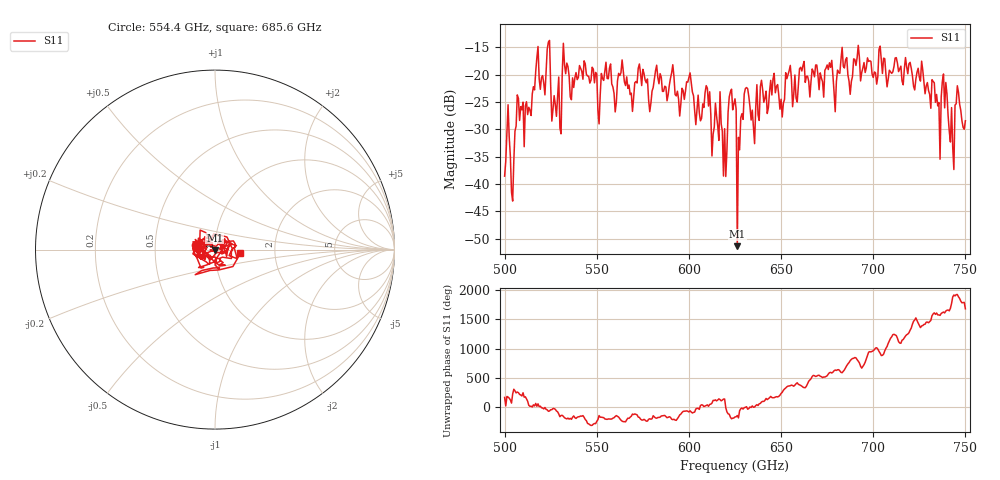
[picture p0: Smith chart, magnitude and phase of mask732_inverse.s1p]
!Created with skrf (http://scikit-rf.org).
# GHz S MA R 50.0
!freq magS11 angS11
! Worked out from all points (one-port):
!   401 points, 500 GHz to 750 GHz, reference 50 ohm
!   lowest |S11| = -51.4 dB at 626.2 GHz (marker M1), VSWR 1.01, Z = 49.8 - j0.184 ohm
!   |S11| at or under -10 dB: start of sweep to end of sweep
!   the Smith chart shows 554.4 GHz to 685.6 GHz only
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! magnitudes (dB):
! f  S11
! 500 GHz  -38.6
! 501.9 GHz  -25.5
! 504.4 GHz  -43.1
! 507.5 GHz  -24.3
! 513.8 GHz  -26.5
! 517.5 GHz  -16.9
! 523.8 GHz  -14.0
! 526.9 GHz  -23.8
! 531.2 GHz  -20.0
! 533.1 GHz  -19.8
! 551.9 GHz  -23.6
! 562.5 GHz  -20.2
! 593.8 GHz  -23.0
! 610 GHz  -22.5
! 619.4 GHz  -29.9
! 623.8 GHz  -26.4
! 625 GHz  -24.4
! 626.2 GHz  -51.4
! 631.2 GHz  -22.3
! 635 GHz  -29.6
! 656.2 GHz  -25.9
! 687.5 GHz  -23.6
! 718.8 GHz  -19.8
! 735 GHz  -25.7
! 738.8 GHz  -26.1
! 742.5 GHz  -26.0
! 745.6 GHz  -22.0
! 750 GHz  -28.4
